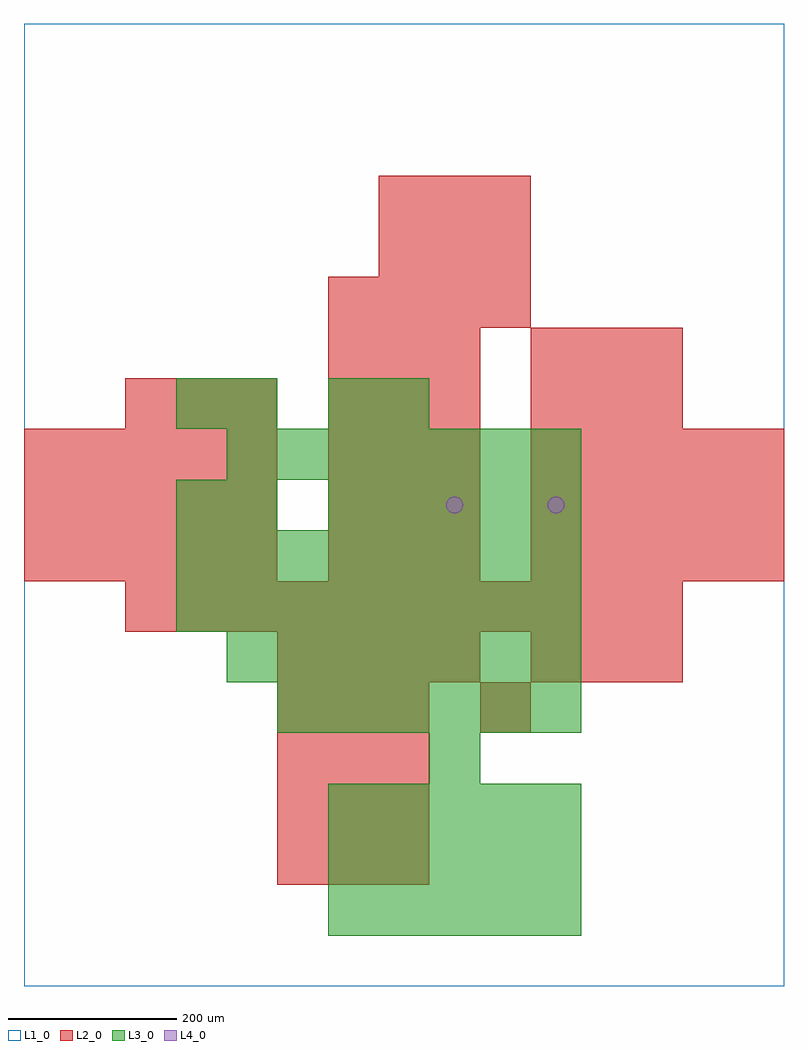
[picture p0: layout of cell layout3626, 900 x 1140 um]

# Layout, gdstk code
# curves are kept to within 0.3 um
import gdstk
lib = gdstk.Library(unit=1e-6, precision=1e-09)
def R(c, l, rs):  # rectangles x0, y0, x1, y1
    for r in rs: c.add(gdstk.rectangle(r[:2], r[2:], *l))
def A(c, l, x, y, w, h, nx, ny, dx, dy):  # array of equal rectangles
    R(c, l, [(x+i*dx, y+j*dy, x+i*dx+w, y+j*dy+h) for i in range(nx) for j in range(ny)])
def P(c, l, *ps):  # polygons
    for p in ps: c.add(gdstk.Polygon(p, *l))
L1_0 = (1, 0)
L2_0 = (2, 0)
L3_0 = (3, 0)
L4_0 = (4, 0)

layout3626 = lib.new_cell('layout3626')
R(layout3626, L1_0, [(0,0,900,1140)])
A(layout3626, L2_0, 300, 120, 60, 60, 3, 4, 60, 60)
A(layout3626, L2_0, 300, 360, 60, 60, 4, 1, 60, 0)
A(layout3626, L2_0, 600, 360, 60, 60, 3, 2, 60, 300)
A(layout3626, L2_0, 120, 420, 60, 60, 11, 1, 60, 0)
A(layout3626, L2_0, 0, 480, 60, 60, 5, 3, 60, 60)
A(layout3626, L2_0, 360, 480, 60, 60, 3, 5, 60, 60)
A(layout3626, L2_0, 600, 480, 60, 60, 5, 3, 60, 60)
A(layout3626, L2_0, 120, 660, 60, 60, 3, 1, 60, 0)
A(layout3626, L2_0, 600, 720, 60, 60, 3, 1, 60, 0)
A(layout3626, L2_0, 360, 780, 60, 60, 4, 1, 60, 0)
A(layout3626, L2_0, 420, 840, 60, 60, 3, 2, 60, 60)
R(layout3626, L2_0, [(540,300,600,360)])
A(layout3626, L3_0, 360, 60, 60, 60, 5, 3, 60, 60)
A(layout3626, L3_0, 300, 300, 60, 60, 6, 1, 60, 0)
A(layout3626, L3_0, 240, 360, 60, 60, 7, 2, 60, 240)
A(layout3626, L3_0, 180, 420, 60, 60, 8, 2, 60, 60)
A(layout3626, L3_0, 360, 540, 60, 60, 5, 1, 60, 0)
R(layout3626, L3_0, [(480,240,540,300), (180,540,240,600), (240,540,300,600), (180,660,240,720), (240,660,300,720), (360,660,420,720), (420,660,480,720)])
P(layout3626, L4_0, [(520,570),(519.239,573.827),(517.071,577.071),(513.827,579.239),(510,580),(506.173,579.239),(502.929,577.071),(500.761,573.827),(500,570),(500.761,566.173),(502.929,562.929),(506.173,560.761),(510,560),(513.827,560.761),(517.071,562.929),(519.239,566.173)],
  [(640,570),(639.239,573.827),(637.071,577.071),(633.827,579.239),(630,580),(626.173,579.239),(622.929,577.071),(620.761,573.827),(620,570),(620.761,566.173),(622.929,562.929),(626.173,560.761),(630,560),(633.827,560.761),(637.071,562.929),(639.239,566.173)])

lib.write_gds('layout3626.gds')
